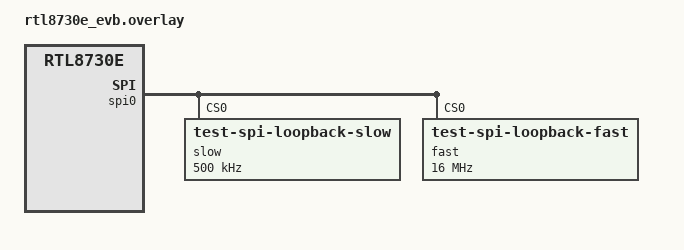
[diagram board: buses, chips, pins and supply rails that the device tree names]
/*
 * Copyright (c) 2026 Realtek Semiconductor Corp.
 *
 * SPDX-License-Identifier: Apache-2.0
 */

/*
 * SPI0 loopback using standard board pins: PB19=MOSI <-> PB20=MISO
 * Wire PB19 to PB20 on the board for external loopback.
 * PB18=CLK, PB17=CS (no loopback needed).
 */

&spi0 {
	/* reuse spi0_default pinctrl already defined in board pinctrl.dtsi */
	pinctrl-0 = <&spi0_default>;
	pinctrl-names = "default";
	status = "okay";

	slow@0 {
		compatible = "test-spi-loopback-slow";
		reg = <0>;
		spi-max-frequency = <500000>;
	};

	fast@0 {
		compatible = "test-spi-loopback-fast";
		reg = <0>;
		spi-max-frequency = <16000000>;
	};
};

&dma {
	status = "okay";
};
